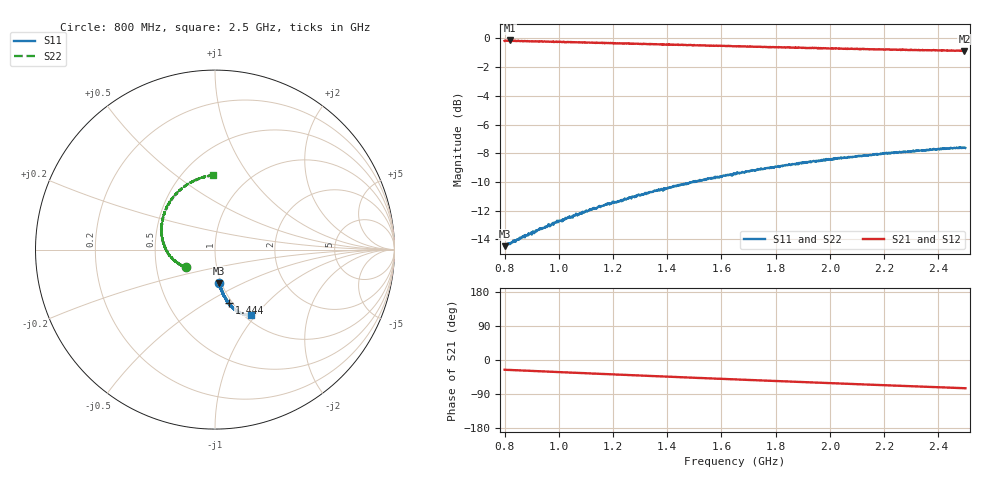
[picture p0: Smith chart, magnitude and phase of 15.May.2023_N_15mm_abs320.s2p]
!Keysight Technologies N9950B: A.12.38
!Date: Monday, 15 May 2023 15:29:09
!Timezone: (UTC-06:00) Central Time (US & Canada)
!Model: N9950B
!Serial: MY61131330
!GPS Latitude:
!GPS Longitude:
!GPS TimeStamp: 0001-01-01 00:00:00Z
!GPS Seconds Since Last Read: 0
!CHECKSUM:1568936095
!Correction: S11(ON U)S21(ON U)S12(ON U)S22(ON U)
!S2P File: Measurements:S11,S21,S12,S22:
# Hz S DB R 50
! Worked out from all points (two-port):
!   1001 points, 800 MHz to 2.5 GHz, reference 50 ohm
!   highest |S21| = -0.15 dB at 818.7 MHz (marker M1); lowest = -0.9 dB at 2.497 GHz (marker M2)
!   |S21| within 3 dB of the highest: start of sweep to end of sweep
!   lowest |S11| = -14.5 dB at 801.7 MHz (marker M3), VSWR 1.47, Z = 48.8 - j19 ohm
!   |S11| at or under -10 dB: start of sweep to 1.491 GHz; 1.494682 GHz to 1.495576 GHz (893.9 kHz wide, 0.0598 % of centre); 1.501936 GHz to 1.502344 GHz (407.8 kHz wide, 0.0272 % of centre)
!   |S22| runs from -14.6 to -7.6 dB; largest |S21 - S12| = 0.0063
!   S11 on the Smith chart (normalised r, x): 800 MHz: 0.97, -0.38; 1.444 GHz: 0.96, -0.64; 2.5 GHz: 1.07, -0.94
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8e8  -14.46 -83.2  -0.18 -25.7  -0.19 -25.8  -14.48 -149.4
8.017e8  -14.46 -82.6  -0.16 -25.7  -0.18 -25.7  -14.56 -148.7
8.187e8  -14.28 -82.7  -0.15 -26.2  -0.18 -26.2  -14.33 -150.3
9.105e8  -13.48 -81.7  -0.22 -29.1  -0.22 -29.2  -13.44 -156.8
9.853e8  -12.82 -80.7  -0.26 -31.4  -0.26 -31.5  -12.91 -162.3
1.0244e9  -12.50 -80.6  -0.28 -32.6  -0.28 -32.7  -12.53 -165.1
1.0839e9  -12.20 -80.0  -0.28 -34.5  -0.31 -34.5  -12.20 -169.7
1.1281e9  -11.87 -79.3  -0.32 -35.9  -0.32 -35.9  -11.92 -172.9
1.1774e9  -11.50 -78.2  -0.33 -37.3  -0.34 -37.3  -11.60 -175.8
1.2165e9  -11.33 -78.3  -0.34 -38.6  -0.35 -38.4  -11.38 -178.7
1.3678e9  -10.59 -76.6  -0.42 -43.0  -0.43 -43.0  -10.59 170.8
1.4443e9  -10.21 -75.5  -0.46 -45.2  -0.46 -45.2  -10.26 165.1
1.5565e9  -9.75 -74.4  -0.53 -48.5  -0.52 -48.5  -9.80 157.2
1.65e9  -9.44 -73.2  -0.55 -51.2  -0.56 -51.1  -9.51 150.5
1.7792e9  -8.99 -71.5  -0.60 -54.8  -0.62 -54.9  -9.06 141.6
1.9339e9  -8.57 -69.2  -0.68 -59.2  -0.69 -59.2  -8.64 130.7
2.0376e9  -8.34 -67.9  -0.72 -62.1  -0.73 -62.0  -8.37 123.5
2.1753e9  -8.09 -66.1  -0.78 -65.8  -0.79 -65.8  -8.09 114.0
2.2178e9  -7.98 -65.2  -0.77 -67.0  -0.80 -66.9  -8.04 111.2
2.3776e9  -7.75 -62.9  -0.85 -71.4  -0.83 -71.4  -7.78 100.1
2.4966e9  -7.60 -61.1  -0.88 -74.6  -0.89 -74.6  -7.65 91.7
2.5e9  -7.63 -61.1  -0.87 -74.5  -0.89 -74.7  -7.63 91.7
